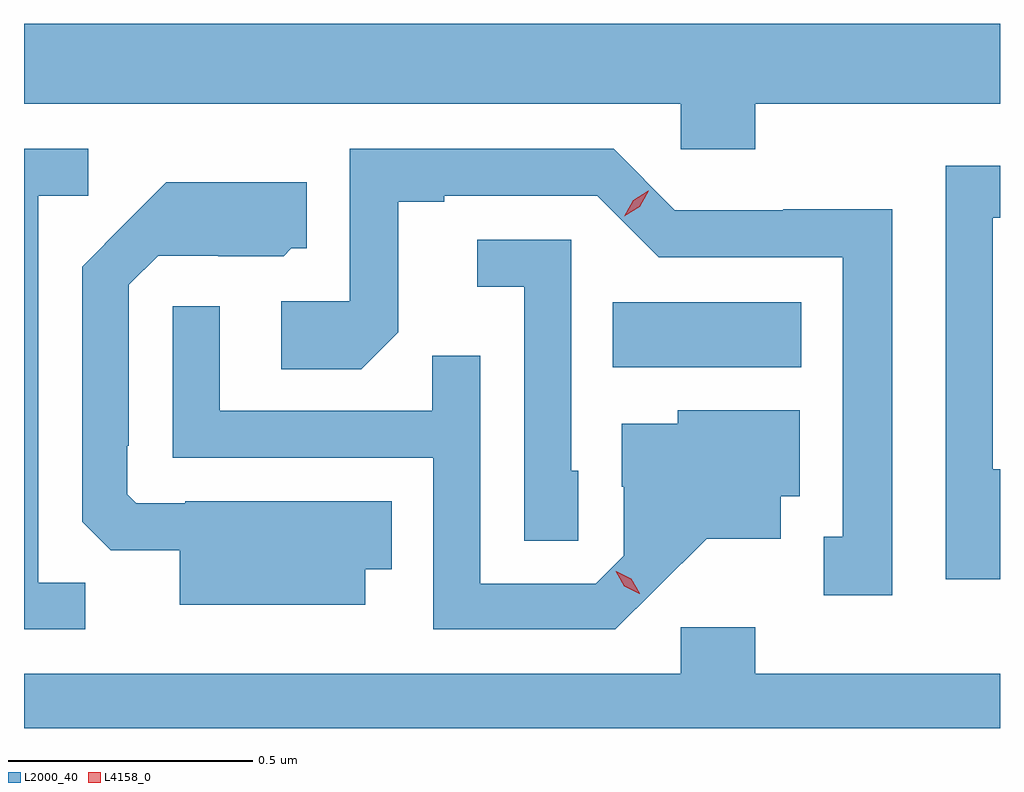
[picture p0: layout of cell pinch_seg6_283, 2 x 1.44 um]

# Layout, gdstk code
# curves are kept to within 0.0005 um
import gdstk
lib = gdstk.Library(unit=1e-6, precision=1e-09)
def R(c, l, rs):  # rectangles x0, y0, x1, y1
    for r in rs: c.add(gdstk.rectangle(r[:2], r[2:], *l))
def P(c, l, *ps):  # polygons
    for p in ps: c.add(gdstk.Polygon(p, *l))
L2000_40 = (2000, 40)
L4158_0 = (4158, 0)

pinch_seg6_283 = lib.new_cell('pinch_seg6_283')
R(pinch_seg6_283, L2000_40, [(879.514,986.756,879.901,986.89)])
P(pinch_seg6_283, L2000_40, [(879.806,987.296),(880.308,987.296),(880.308,987.46),(878.308,987.46),(878.308,987.296),(879.654,987.296),(879.654,987.203),(879.806,987.203)],
  [(878.433,986.315),(878.337,986.315),(878.337,987.108),(878.44,987.108),(878.44,987.204),(878.308,987.204),(878.308,986.22),(878.433,986.22)],
  [(880.087,987.08),(879.864,987.08),(879.864,987.078),(879.642,987.078),(879.516,987.204),(878.976,987.204),(878.976,986.892),(878.835,986.892),(878.835,986.752),(878.999,986.752),(879.075,986.828),(879.075,987.096),(879.169,987.096),(879.169,987.108),(879.483,987.108),(879.609,986.982),(879.986,986.982),(879.986,986.409),(879.947,986.409),(879.947,986.289),(880.087,986.289)],
  [(880.308,986.547),(880.293,986.547),(880.293,987.063),(880.308,987.063),(880.308,987.169),(880.197,987.169),(880.197,986.322),(880.308,986.322)],
  [(879.007,986.342),(879.062,986.342),(879.062,986.482),(878.638,986.482),(878.638,986.478),(878.538,986.478),(878.52,986.496),(878.52,986.596),(878.523,986.596),(878.523,986.925),(878.583,986.985),(878.706,986.985),(878.706,986.984),(878.84,986.984),(878.856,987),(878.887,987),(878.887,987.136),(878.599,987.136),(878.427,986.962),(878.427,986.44),(878.486,986.381),(878.627,986.381),(878.627,986.27),(879.007,986.27)],
  [(879.444,986.544),(879.429,986.544),(879.429,987.018),(879.237,987.018),(879.237,986.921),(879.333,986.921),(879.333,986.401),(879.444,986.401)],
  [(879.604,986.303),(879.707,986.405),(879.859,986.405),(879.859,986.492),(879.898,986.492),(879.898,986.668),(879.648,986.668),(879.648,986.641),(879.533,986.641),(879.533,986.512),(879.537,986.512),(879.537,986.37),(879.48,986.313),(879.243,986.313),(879.243,986.78),(879.145,986.78),(879.145,986.667),(878.709,986.667),(878.709,986.881),(878.613,986.881),(878.613,986.571),(879.147,986.571),(879.147,986.22),(879.52,986.22)],
  [(879.806,986.224),(879.654,986.224),(879.654,986.128),(878.308,986.128),(878.308,986.017),(880.308,986.017),(880.308,986.128),(879.806,986.128)])
P(pinch_seg6_283, L4158_0, [(879.538,987.066),(879.538,987.066),(879.556,987.099),(879.587,987.118),(879.588,987.118),(879.588,987.118),(879.57,987.085),(879.538,987.066)],
  [(879.569,986.292),(879.538,986.308),(879.521,986.338),(879.521,986.338),(879.522,986.338),(879.552,986.323),(879.57,986.293),(879.57,986.292)])

lib.write_gds('pinch_seg6_283.gds')
